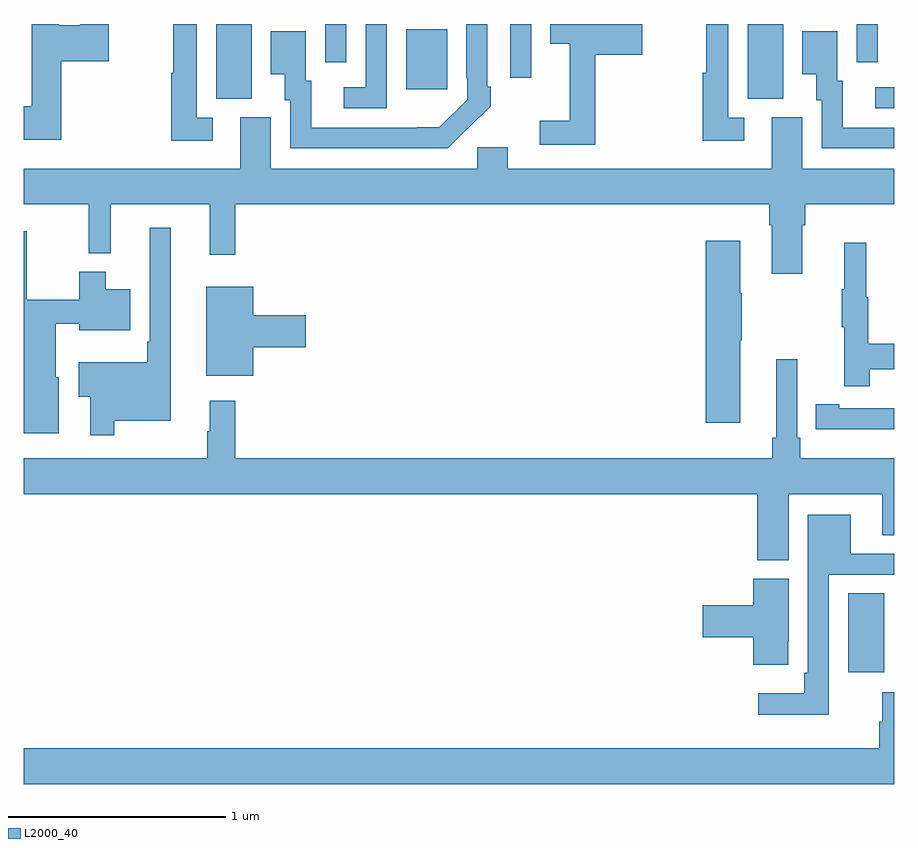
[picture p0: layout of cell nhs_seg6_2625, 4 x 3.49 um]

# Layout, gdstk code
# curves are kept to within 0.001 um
import gdstk
lib = gdstk.Library(unit=1e-6, precision=1e-09)
def R(c, l, rs):  # rectangles x0, y0, x1, y1
    for r in rs: c.add(gdstk.rectangle(r[:2], r[2:], *l))
def P(c, l, *ps):  # polygons
    for p in ps: c.add(gdstk.Polygon(p, *l))
L2000_40 = (2000, 40)

nhs_seg6_2625 = lib.new_cell('nhs_seg6_2625')
R(nhs_seg6_2625, L2000_40, [(270.788,942.522,270.955,942.884), (270.912,945.114,271,945.21), (267.884,945.157,268.048,945.5), (270.326,945.157,270.49,945.5), (268.757,945.201,268.945,945.475), (269.235,945.252,269.331,945.5), (268.386,945.324,268.482,945.5), (270.828,945.324,270.924,945.5)])
P(nhs_seg6_2625, L2000_40, [(267.173,945.329),(267.39,945.329),(267.39,945.5),(267.26,945.5),(267.26,945.494),(267.16,945.494),(267.16,945.5),(267.038,945.5),(267.038,945.121),(267,945.121),(267,944.969),(267.173,944.969)],
  [(268.668,945.5),(268.572,945.5),(268.572,945.21),(268.47,945.21),(268.47,945.114),(268.668,945.114)],
  [(269.039,945.019),(269.04,945.018),(269.145,945.123),(269.145,945.211),(269.13,945.211),(269.13,945.5),(269.034,945.5),(269.034,945.253),(269.037,945.253),(269.037,945.153),(268.909,945.025),(268.321,945.024),(268.321,945.24),(268.297,945.24),(268.297,945.466),(268.136,945.466),(268.136,945.269),(268.199,945.269),(268.199,945.15),(268.224,945.15),(268.224,944.928),(268.948,944.928)],
  [(267.868,945.069),(267.795,945.069),(267.795,945.5),(267.687,945.5),(267.687,945.276),(267.679,945.276),(267.679,944.964),(267.868,944.964)],
  [(269.627,945.359),(269.842,945.359),(269.842,945.5),(269.42,945.5),(269.42,945.41),(269.51,945.41),(269.51,945.055),(269.37,945.055),(269.37,944.946),(269.627,944.946)],
  [(270.31,945.069),(270.237,945.069),(270.237,945.5),(270.136,945.5),(270.136,945.276),(270.121,945.276),(270.121,944.964),(270.31,944.964)],
  [(271,945.024),(270.763,945.024),(270.763,945.24),(270.739,945.24),(270.739,945.466),(270.578,945.466),(270.578,945.269),(270.641,945.269),(270.641,945.15),(270.666,945.15),(270.666,944.928),(271,944.928)],
  [(270.577,944.576),(270.59,944.576),(270.59,944.672),(271,944.672),(271,944.836),(270.577,944.836),(270.577,945.072),(270.437,945.072),(270.437,944.836),(269.224,944.836),(269.224,944.934),(269.085,944.934),(269.085,944.836),(268.135,944.836),(268.135,945.072),(267.995,945.072),(267.995,944.836),(267,944.836),(267,944.672),(267.298,944.672),(267.298,944.447),(267.401,944.447),(267.401,944.672),(267.854,944.672),(267.854,944.439),(267.971,944.439),(267.971,944.672),(270.425,944.672),(270.425,944.576),(270.437,944.576),(270.437,944.352),(270.577,944.352)],
  [(267.415,943.676),(267.676,943.676),(267.676,944.563),(267.579,944.563),(267.579,944.041),(267.567,944.041),(267.567,943.945),(267.252,943.945),(267.252,943.787),(267.305,943.787),(267.305,943.611),(267.415,943.611)],
  [(267.16,943.878),(267.148,943.878),(267.148,944.123),(267.254,944.123),(267.254,944.093),(267.49,944.093),(267.49,944.281),(267.376,944.281),(267.376,944.362),(267.254,944.362),(267.254,944.233),(267.013,944.233),(267.013,944.548),(267,944.548),(267,943.619),(267.16,943.619)],
  [(270.292,944.047),(270.3,944.047),(270.3,944.264),(270.292,944.264),(270.292,944.503),(270.134,944.503),(270.134,943.668),(270.292,943.668)],
  [(270.887,943.914),(271,943.914),(271,944.03),(270.88,944.03),(270.88,944.244),(270.872,944.244),(270.872,944.494),(270.77,944.494),(270.77,944.281),(270.759,944.281),(270.759,944.107),(270.77,944.107),(270.77,943.836),(270.887,943.836)],
  [(268.054,944.015),(268.297,944.015),(268.297,944.162),(268.054,944.162),(268.054,944.293),(267.839,944.293),(267.839,943.883),(268.054,943.883)],
  [(270.514,943.34),(270.944,943.34),(270.944,943.15),(271,943.15),(271,943.504),(270.569,943.504),(270.569,943.6),(270.555,943.6),(270.555,943.96),(270.458,943.96),(270.458,943.6),(270.439,943.6),(270.439,943.504),(267.971,943.504),(267.971,943.768),(267.854,943.768),(267.854,943.628),(267.843,943.628),(267.843,943.504),(267,943.504),(267,943.34),(270.371,943.34),(270.371,943.036),(270.514,943.036)],
  [(271,943.734),(270.748,943.734),(270.748,943.754),(270.64,943.754),(270.64,943.638),(270.748,943.638),(270.748,943.637),(271,943.637)],
  [(270.699,942.969),(271,942.969),(271,943.065),(270.799,943.065),(270.799,943.246),(270.603,943.246),(270.603,942.52),(270.587,942.52),(270.587,942.424),(270.375,942.424),(270.375,942.326),(270.699,942.326)],
  [(270.513,942.667),(270.514,942.667),(270.514,942.951),(270.353,942.951),(270.353,942.83),(270.12,942.83),(270.12,942.683),(270.353,942.683),(270.353,942.555),(270.513,942.555)],
  [(271,942.43),(270.944,942.43),(270.944,942.293),(270.932,942.293),(270.932,942.172),(267,942.172),(267,942.008),(271,942.008)])

lib.write_gds('nhs_seg6_2625.gds')
